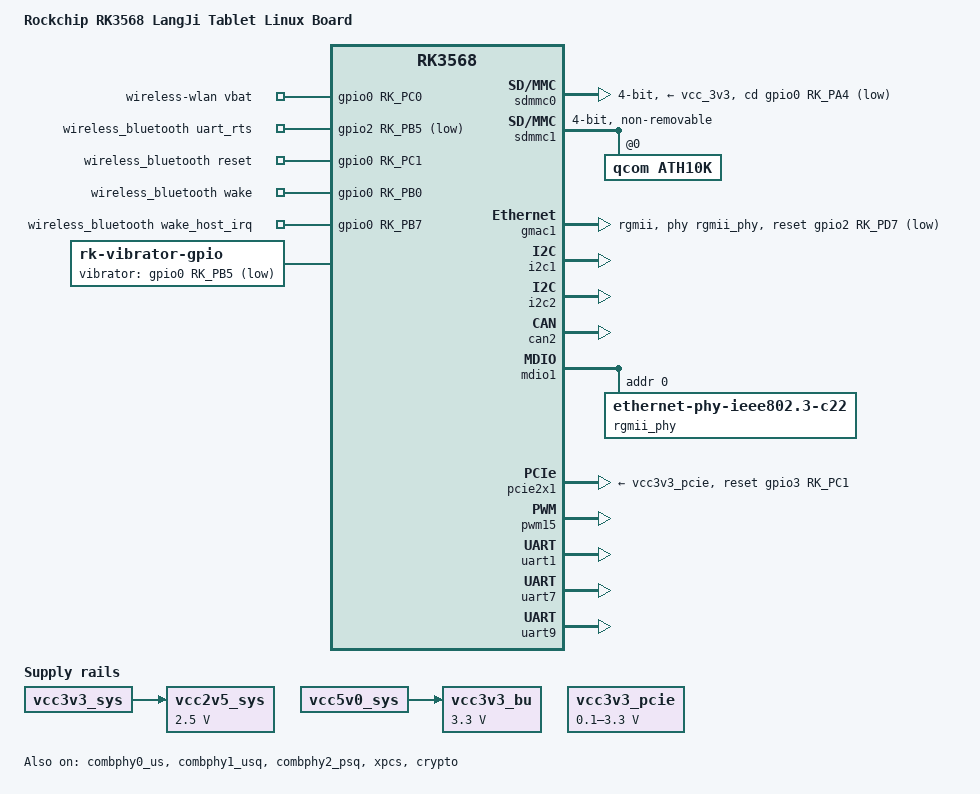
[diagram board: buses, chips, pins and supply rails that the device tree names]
// SPDX-License-Identifier: (GPL-2.0+ OR MIT)
/*
 * Copyright (c) 2020 Rockchip Electronics Co., Ltd.
 *
 */

/dts-v1/;

#include "rk3568-langji-tablet-base.dtsi"
#include <dt-bindings/clock/rk618-cru.h>

/ {

	model = "Rockchip RK3568 LangJi Tablet Linux Board";
	compatible = "rockchip,rk3568-langji-tablet", "rockchip,rk3568";


	vcc2v5_sys: vcc2v5-ddr {
		compatible = "regulator-fixed";
		regulator-name = "vcc2v5-sys";
		regulator-always-on;
		regulator-boot-on;
		regulator-min-microvolt = <2500000>;
		regulator-max-microvolt = <2500000>;
		vin-supply = <&vcc3v3_sys>;
	};

	vcc3v3_pcie: gpio-regulator {
		compatible = "regulator-gpio";
		regulator-name = "vcc3v3_pcie";
		regulator-min-microvolt = <100000>;
		regulator-max-microvolt = <3300000>;
		gpios = <&gpio0 RK_PD4 GPIO_ACTIVE_HIGH>;
		gpios-states = <0x1>;
		states = <100000 0x0
			  3300000 0x1>;
	};

	vcc3v3_bu: vcc3v3-bu {
		compatible = "regulator-fixed";
		regulator-name = "vcc3v3_bu";
		regulator-always-on;
		regulator-boot-on;
		regulator-min-microvolt = <3300000>;
		regulator-max-microvolt = <3300000>;
		vin-supply = <&vcc5v0_sys>;
	};

	wireless-wlan {
		compatible = "wlan-platdata";
		/* wifi_chip_type - wifi chip define
		* ap6210, ap6330, ap6335
		* rtl8188eu, rtl8723bs, rtl8723bu
		* esp8089
		*/
		wifi_chip_type = "ap6210";
		WIFI,vbat_gpio = <&gpio0 RK_PC0 GPIO_ACTIVE_HIGH>;
		status = "okay";
	};
	
	wireless_bluetooth: wireless-bluetooth {
		compatible = "bluetooth-platdata";
		clocks = <&pmucru CLK_RTC_32K>;
		clock-names = "ext_clock";
		//wifi-bt-power-toggle;
		uart_rts_gpios = <&gpio2 RK_PB5 GPIO_ACTIVE_LOW>;
		pinctrl-names = "default", "rts_gpio";
		pinctrl-0 = <&uart1m0_rtsn>;
		pinctrl-1 = <&uart1m0_gpios>;
		BT,reset_gpio    = <&gpio0 RK_PC1 GPIO_ACTIVE_HIGH>;
		BT,wake_gpio     = <&gpio0 RK_PB0 GPIO_ACTIVE_HIGH>;
		BT,wake_host_irq = <&gpio0 RK_PB7 GPIO_ACTIVE_HIGH>;
		status = "okay";
	};

	reserved-memory {
		#address-cells = <2>;
		#size-cells = <2>;
		ranges;
	};
	
	vibrator {
		compatible = "rk-vibrator-gpio";
		vibrator-gpio = <&gpio0 RK_PB5 GPIO_ACTIVE_LOW>;
		status = "okay";
	};
};

&sdmmc0 {
	max-frequency = <150000000>;
	supports-sd;
	bus-width = <4>;
	cap-sd-highspeed;
	disable-wp;
	sd-uhs-sdr104;
	/* no-1-8-v; */
	vmmc-supply = <&vcc_3v3>;
	vqmmc-supply = <&vccio_sd>;
	pinctrl-names = "default";
	pinctrl-0 = <&sdmmc0_bus4 &sdmmc0_clk &sdmmc0_cmd &sdmmc0_det>;
	cd-gpios = <&gpio0 RK_PA4 GPIO_ACTIVE_LOW>;
	status = "okay";
};



&sdmmc1 {
	max-frequency = <150000000>;
	supports-sdio;
	non-removable;
	bus-width = <4>;
	cap-sd-highspeed;
	cap-sdio-irq;
	disable-wp;
	sd-uhs-sdr104;
	pinctrl-names = "default";
	pinctrl-0 = <&sdmmc1_bus4 &sdmmc1_clk &sdmmc1_cmd>;
	non-removable;
	status = "okay";
	
	ath10k: wifi@0 {
		reg = <0>;
		compatible = "qcom,ath10k";
                status = "okay";
	};
};

&combphy0_us {
	status = "okay";
};

&combphy1_usq {
	status = "okay";
};

&combphy2_psq{
	status = "okay";
};

&xpcs {
	status = "okay";
};

&gmac0 {
	status = "disabled";
};

&gmac1 {
	phy-mode = "rgmii";
	clock_in_out = "output";

	snps,reset-gpio = <&gpio2 RK_PD7 GPIO_ACTIVE_LOW>;
	snps,reset-active-low;
	/* Reset time is 20ms, 100ms for rtl8211f */
	snps,reset-delays-us = <0 20000 100000>;

	assigned-clocks = <&cru SCLK_GMAC1_RX_TX>, <&cru SCLK_GMAC1>;
	assigned-clock-parents = <&cru SCLK_GMAC1_RGMII_SPEED>;
	assigned-clock-rates = <0>, <125000000>;

	pinctrl-names = "default";
	pinctrl-0 = <&gmac1m0_miim
		     &gmac1m0_rx_bus2
		     &gmac1m0_tx_bus2_level3
		     &gmac1m0_rgmii_clk
		     &gmac1m0_rgmii_bus_level3>;

	tx_delay = <0x3a>;
	rx_delay = <0x11>;

	phy-handle = <&rgmii_phy>;
	status = "okay";

};

&i2c1 {
	status = "okay";
};

&i2c2 {
	pinctrl-0 = <&i2c2m1_xfer>;
	status = "okay";
};

&can2 {
	assigned-clocks = <&cru CLK_CAN2>;
	assigned-clock-rates = <150000000>;
	pinctrl-names = "default";
	pinctrl-0 = <&can2m1_pins>;
	status = "okay";
};

&mdio1 {
	rgmii_phy: phy@0 {
		compatible = "ethernet-phy-ieee802.3-c22";
		reg = <0x0>;
	};
};

&pcie2x1 {
	num-viewport = <4>;
	reset-gpios = <&gpio3 RK_PC1 GPIO_ACTIVE_HIGH>;
	vpcie3v3-supply = <&vcc3v3_pcie>;
	pinctrl-0 = <&pcie20m1_pins>; 
	bus-scan-delay-ms = <1000>;
	status = "okay";
};

&vad {
	rockchip,audio-src = <&i2s1_8ch>;
	rockchip,buffer-time-ms = <128>;
	rockchip,det-channel = <0>;
	rockchip,mode = <0>;
};


&pwm15 {
	compatible = "rockchip,remotectl-pwm";
	pinctrl-names = "default";
	pinctrl-0 = <&pwm15m1_pins>;
	remote_pwm_id = <3>;
	handle_cpu_id = <1>;
	remote_support_psci = <0>;
	status = "okay";

	ir_key1 {
		rockchip,usercode = <0x4040>;
		rockchip,key_table =
			<0xf2	KEY_REPLY>,
			<0xba	KEY_BACK>,
			<0xf4	KEY_UP>,
			<0xf1	KEY_DOWN>,
			<0xef	KEY_LEFT>,
			<0xee	KEY_RIGHT>,
			<0xbd	KEY_HOME>,
			<0xea	KEY_VOLUMEUP>,
			<0xe3	KEY_VOLUMEDOWN>,
			<0xe2	KEY_SEARCH>,
			<0xb2	KEY_POWER>,
			<0xbc	KEY_MUTE>,
			<0xec	KEY_MENU>,
			<0xbf	0x190>,
			<0xe0	0x191>,
			<0xe1	0x192>,
			<0xe9	183>,
			<0xe6	248>,
			<0xe8	185>,
			<0xe7	186>,
			<0xf0	388>,
			<0xbe	0x175>;
	};

	ir_key2 {
		rockchip,usercode = <0xff00>;
		rockchip,key_table =
			<0xf9	KEY_HOME>,
			<0xbf	KEY_BACK>,
			<0xfb	KEY_MENU>,
			<0xaa	KEY_REPLY>,
			<0xb9	KEY_UP>,
			<0xe9	KEY_DOWN>,
			<0xb8	KEY_LEFT>,
			<0xea	KEY_RIGHT>,
			<0xeb	KEY_VOLUMEDOWN>,
			<0xef	KEY_VOLUMEUP>,
			<0xf7	KEY_MUTE>,
			<0xe7	KEY_POWER>,
			<0xfc	KEY_POWER>,
			<0xa9	KEY_VOLUMEDOWN>,
			<0xa8	KEY_PLAYPAUSE>,
			<0xe0	KEY_VOLUMEDOWN>,
			<0xa5	KEY_VOLUMEDOWN>,
			<0xab	183>,
			<0xb7	388>,
			<0xe8	388>,
			<0xf8	184>,
			<0xaf	185>,
			<0xed	KEY_VOLUMEDOWN>,
			<0xee	186>,
			<0xb3	KEY_VOLUMEDOWN>,
			<0xf1	KEY_VOLUMEDOWN>,
			<0xf2	KEY_VOLUMEDOWN>,
			<0xf3	KEY_SEARCH>,
			<0xb4	KEY_VOLUMEDOWN>,
			<0xa4	KEY_SETUP>,
			<0xbe	KEY_SEARCH>;
	};

	ir_key3 {
		rockchip,usercode = <0x1dcc>;
		rockchip,key_table =
			<0xee	KEY_REPLY>,
			<0xf0	KEY_BACK>,
			<0xf8	KEY_UP>,
			<0xbb	KEY_DOWN>,
			<0xef	KEY_LEFT>,
			<0xed	KEY_RIGHT>,
			<0xfc	KEY_HOME>,
			<0xf1	KEY_VOLUMEUP>,
			<0xfd	KEY_VOLUMEDOWN>,
			<0xb7	KEY_SEARCH>,
			<0xff	KEY_POWER>,
			<0xf3	KEY_MUTE>,
			<0xbf	KEY_MENU>,
			<0xf9	0x191>,
			<0xf5	0x192>,
			<0xb3	388>,
			<0xbe	KEY_1>,
			<0xba	KEY_2>,
			<0xb2	KEY_3>,
			<0xbd	KEY_4>,
			<0xf9	KEY_5>,
			<0xb1	KEY_6>,
			<0xfc	KEY_7>,
			<0xf8	KEY_8>,
			<0xb0	KEY_9>,
			<0xb6	KEY_0>,
			<0xb5	KEY_BACKSPACE>;
	};
};

&rgb {
	status = "disabled";
};

&rgb_in_vp2 {
	status = "disabled";
};

&sata1 {
	status = "disabled";
};

&sata2 {
	status = "disabled";
};

&uart1 {
	pinctrl-names = "default";
	pinctrl-0 = <&uart1m0_xfer &uart1m0_ctsn>;
	status = "okay";
};

&uart7 {
	pinctrl-names = "default";
	pinctrl-0 = <&uart7m2_xfer>;
	status = "okay";
};

&uart9 {
	pinctrl-names = "default";
	pinctrl-0 = <&uart9m2_xfer>;
	status = "okay";
};

&crypto {
	status = "okay";
};

